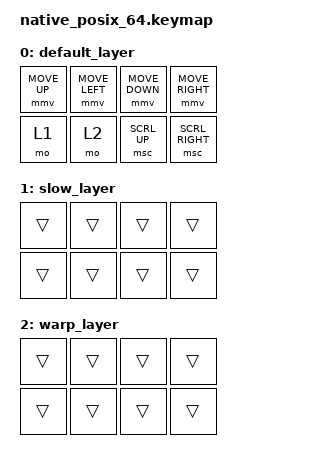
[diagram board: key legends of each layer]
// Pointer settings follow config/glove80.keymap: 200 units/s, 30 notches/s,
// constant velocity, and fast/slow/warp scalers of 9/2, 9/4, and 12/1.
#define ZMK_POINTING_DEFAULT_MOVE_VAL 200
#define ZMK_POINTING_DEFAULT_SCRL_VAL 30

#include <behaviors.dtsi>
#include <input/processors.dtsi>
#include <dt-bindings/zmk/keys.h>
#include <dt-bindings/zmk/kscan_mock.h>
#include <dt-bindings/zmk/pointing.h>

&mmv {
    acceleration-exponent = <0>;
    time-to-max-speed-ms = <0>;
    normalize-diagonals;
};

&msc {
    acceleration-exponent = <0>;
    time-to-max-speed-ms = <0>;
};

&mmv_input_listener {
    slow {
        layers = <1>;
        input-processors = <&zip_xy_scaler 9 4>;
    };
    warp {
        layers = <2>;
        input-processors = <&zip_xy_scaler 12 1>;
    };
    fast {
        layers = <0>;
        input-processors = <&zip_xy_scaler 9 2>;
    };
};

/ {
    keymap {
        compatible = "zmk,keymap";

        default_layer {
            bindings = <
                &mmv MOVE_UP &mmv MOVE_LEFT &mmv MOVE_DOWN   &mmv MOVE_RIGHT
                &mo 1        &mo 2          &msc SCRL_UP     &msc SCRL_RIGHT
            >;
        };
        slow_layer {
            bindings = <
                &trans &trans &trans &trans
                &trans &trans &trans &trans
            >;
        };
        warp_layer {
            bindings = <
                &trans &trans &trans &trans
                &trans &trans &trans &trans
            >;
        };
    };
};

&kscan {
    rows = <2>;
    columns = <4>;
    events = <
        // Fast: straight, diagonal, opposing keys, then releases.
        ZMK_MOCK_PRESS(0,3,1000)    // right
        ZMK_MOCK_PRESS(0,0,1000)    // up + right
        ZMK_MOCK_PRESS(0,1,1000)    // left cancels right: up
        ZMK_MOCK_RELEASE(0,3,1000)  // up + left
        ZMK_MOCK_RELEASE(0,1,1000)  // up
        ZMK_MOCK_RELEASE(0,0,500)   // stopped
        // Slow layer: straight, then diagonal.
        ZMK_MOCK_PRESS(1,0,10)
        ZMK_MOCK_PRESS(0,3,2000)    // right
        ZMK_MOCK_PRESS(0,2,2000)    // down + right
        ZMK_MOCK_RELEASE(0,3,10)
        ZMK_MOCK_RELEASE(0,2,10)
        ZMK_MOCK_RELEASE(1,0,500)
        // Warp layer: straight, then diagonal.
        ZMK_MOCK_PRESS(1,1,10)
        ZMK_MOCK_PRESS(0,3,1000)    // right
        ZMK_MOCK_PRESS(0,2,1000)    // down + right
        ZMK_MOCK_RELEASE(0,3,10)
        ZMK_MOCK_RELEASE(0,2,10)
        ZMK_MOCK_RELEASE(1,1,500)
        // Scroll is not normalized.
        ZMK_MOCK_PRESS(1,2,1000)    // wheel up
        ZMK_MOCK_PRESS(1,3,1000)    // wheel up + right
        ZMK_MOCK_RELEASE(1,2,10)
        ZMK_MOCK_RELEASE(1,3,500)
    >;
};
